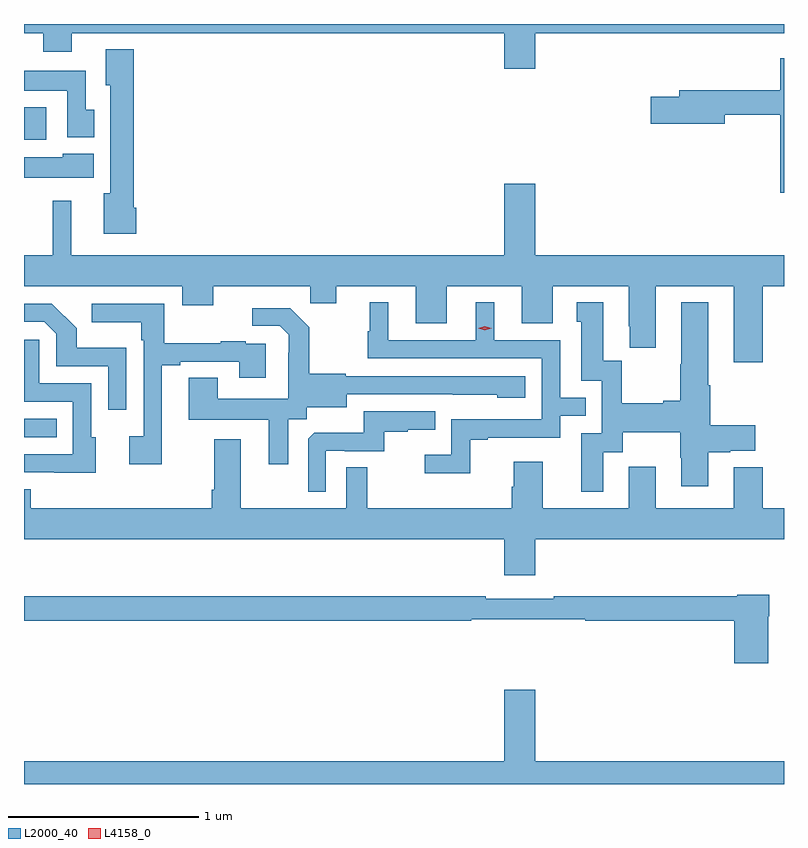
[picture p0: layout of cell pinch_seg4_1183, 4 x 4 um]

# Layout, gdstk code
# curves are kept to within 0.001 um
import gdstk
lib = gdstk.Library(unit=1e-6, precision=1e-09)
def R(c, l, rs):  # rectangles x0, y0, x1, y1
    for r in rs: c.add(gdstk.rectangle(r[:2], r[2:], *l))
def P(c, l, *ps):  # polygons
    for p in ps: c.add(gdstk.Polygon(p, *l))
L2000_40 = (2000, 40)
L4158_0 = (4158, 0)

pinch_seg4_1183 = lib.new_cell('pinch_seg4_1183')
R(pinch_seg4_1183, L2000_40, [(570.073,756.066,570.245,756.162), (570.073,757.631,570.19,757.801)])
P(pinch_seg4_1183, L2000_40, [(572.764,758.192),(574.073,758.192),(574.073,758.24),(570.073,758.24),(570.073,758.192),(570.173,758.192),(570.173,758.093),(570.325,758.093),(570.325,758.192),(572.6,758.192),(572.6,758.004),(572.764,758.004)],
  [(570.665,757.272),(570.65,757.272),(570.65,758.107),(570.503,758.107),(570.503,757.917),(570.527,757.917),(570.527,757.35),(570.494,757.35),(570.494,757.136),(570.665,757.136)],
  [(574.073,758.059),(574.052,758.059),(574.052,757.891),(573.521,757.891),(573.521,757.857),(573.372,757.857),(573.372,757.715),(573.76,757.715),(573.76,757.762),(574.052,757.762),(574.052,757.352),(574.073,757.352)],
  [(570.442,757.788),(570.397,757.788),(570.397,757.993),(570.073,757.993),(570.073,757.889),(570.3,757.889),(570.3,757.644),(570.442,757.644)],
  [(570.439,757.558),(570.276,757.558),(570.276,757.54),(570.073,757.54),(570.073,757.43),(570.439,757.43)],
  [(573.962,756.86),(574.073,756.86),(574.073,757.024),(572.764,757.024),(572.764,757.399),(572.6,757.399),(572.6,757.024),(570.322,757.024),(570.322,757.309),(570.224,757.309),(570.224,757.024),(570.073,757.024),(570.073,756.86),(570.905,756.86),(570.905,756.761),(571.069,756.761),(571.069,756.86),(571.579,756.86),(571.579,756.77),(571.717,756.77),(571.717,756.86),(572.135,756.86),(572.135,756.666),(572.299,756.666),(572.299,756.86),(572.693,756.86),(572.693,756.666),(572.857,756.666),(572.857,756.86),(573.257,756.86),(573.257,756.649),(573.26,756.649),(573.26,756.537),(573.397,756.537),(573.397,756.86),(573.809,756.86),(573.809,756.459),(573.962,756.459)],
  [(572.421,756.051),(572.515,756.051),(572.515,756.063),(572.895,756.063),(572.895,756.177),(573.029,756.177),(573.029,756.273),(572.895,756.273),(572.895,756.576),(572.548,756.576),(572.548,756.775),(572.45,756.775),(572.45,756.576),(571.99,756.576),(571.99,756.775),(571.892,756.775),(571.892,756.624),(571.881,756.624),(571.881,756.48),(572.799,756.48),(572.799,756.159),(572.322,756.159),(572.322,755.974),(572.181,755.974),(572.181,755.876),(572.421,755.876)],
  [(573.121,755.986),(573.223,755.986),(573.223,756.092),(573.526,756.092),(573.526,755.958),(573.533,755.958),(573.533,755.808),(573.673,755.808),(573.673,755.986),(573.789,755.986),(573.789,755.993),(573.922,755.993),(573.922,756.128),(573.686,756.128),(573.686,756.34),(573.673,756.34),(573.673,756.775),(573.533,756.775),(573.533,756.449),(573.526,756.449),(573.526,756.257),(573.437,756.257),(573.437,756.244),(573.219,756.244),(573.219,756.467),(573.121,756.467),(573.121,756.775),(572.981,756.775),(572.981,756.672),(573.005,756.672),(573.005,756.363),(573.114,756.363),(573.114,756.087),(573.005,756.087),(573.005,755.778),(573.121,755.778)],
  [(570.799,756.444),(570.895,756.444),(570.895,756.462),(571.205,756.462),(571.205,756.378),(571.345,756.378),(571.345,756.558),(571.241,756.558),(571.241,756.571),(571.109,756.571),(571.109,756.56),(570.811,756.56),(570.811,756.768),(570.429,756.768),(570.429,756.671),(570.69,756.671),(570.69,756.575),(570.702,756.575),(570.702,756.07),(570.627,756.07),(570.627,755.922),(570.799,755.922)],
  [(570.612,756.535),(570.351,756.535),(570.351,756.638),(570.22,756.768),(570.073,756.768),(570.073,756.672),(570.18,756.672),(570.243,756.609),(570.243,756.438),(570.516,756.438),(570.516,756.21),(570.612,756.21)],
  [(571.465,756.16),(571.56,756.16),(571.56,756.224),(571.771,756.224),(571.771,756.291),(572.565,756.29),(572.565,756.272),(572.71,756.272),(572.71,756.387),(571.767,756.387),(571.767,756.4),(571.575,756.4),(571.575,756.645),(571.475,756.745),(571.275,756.745),(571.275,756.651),(571.419,756.651),(571.466,756.604),(571.466,756.509),(571.464,756.509),(571.464,756.268),(571.093,756.268),(571.093,756.377),(570.941,756.377),(570.941,756.158),(571.361,756.158),(571.361,755.922),(571.465,755.922)],
  [(570.451,756.066),(570.426,756.066),(570.426,756.348),(570.153,756.348),(570.153,756.577),(570.073,756.577),(570.073,756.252),(570.33,756.252),(570.33,755.976),(570.073,755.976),(570.073,755.88),(570.233,755.88),(570.233,755.879),(570.451,755.879)],
  [(571.662,755.994),(571.762,755.994),(571.762,755.991),(571.97,755.991),(571.97,756.093),(572.093,756.093),(572.093,756.104),(572.237,756.104),(572.237,756.201),(571.86,756.201),(571.86,756.089),(571.601,756.089),(571.569,756.057),(571.569,755.777),(571.662,755.777)],
  [(572.764,755.528),(574.073,755.528),(574.073,755.692),(573.962,755.692),(573.962,755.908),(573.809,755.908),(573.809,755.692),(573.397,755.692),(573.397,755.911),(573.257,755.911),(573.257,755.692),(572.803,755.692),(572.803,755.935),(572.651,755.935),(572.651,755.805),(572.639,755.805),(572.639,755.692),(571.879,755.692),(571.879,755.906),(571.77,755.906),(571.77,755.692),(571.213,755.692),(571.213,756.055),(571.073,756.055),(571.073,755.788),(571.061,755.788),(571.061,755.692),(570.109,755.692),(570.109,755.791),(570.073,755.791),(570.073,755.528),(572.6,755.528),(572.6,755.34),(572.764,755.34)],
  [(573.99,755.123),(573.995,755.123),(573.995,755.235),(573.828,755.235),(573.828,755.227),(572.86,755.227),(572.86,755.214),(572.504,755.214),(572.504,755.227),(570.073,755.227),(570.073,755.098),(572.428,755.098),(572.428,755.106),(573.028,755.106),(573.028,755.098),(573.812,755.098),(573.812,754.875),(573.99,754.875)],
  [(574.073,754.36),(572.764,754.36),(572.764,754.735),(572.6,754.735),(572.6,754.36),(570.073,754.36),(570.073,754.24),(574.073,754.24)])
P(pinch_seg4_1183, L4158_0, [(572.499,756.629),(572.464,756.639),(572.463,756.639),(572.464,756.639),(572.499,756.649),(572.535,756.639),(572.535,756.639),(572.535,756.639)])

lib.write_gds('pinch_seg4_1183.gds')
